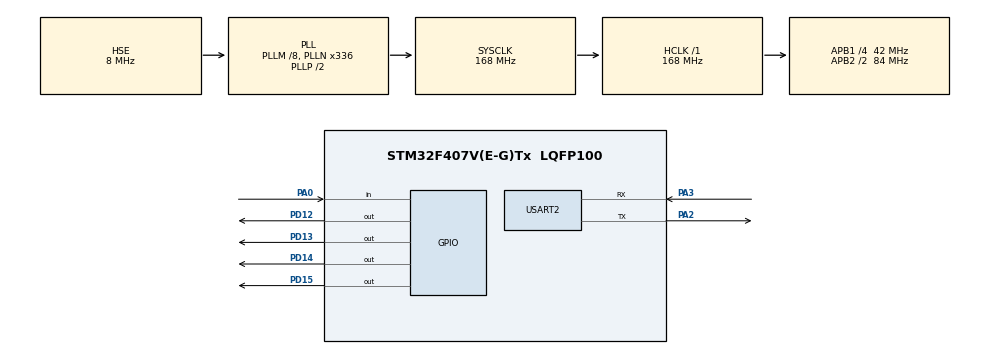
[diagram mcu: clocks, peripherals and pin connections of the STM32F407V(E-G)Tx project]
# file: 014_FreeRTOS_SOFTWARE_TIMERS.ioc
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FREERTOS.Tasks01=defaultTask,24,128,StartDefaultTask,Default,NULL,Dynamic,NULL,NULL
FREERTOS.configUSE_NEWLIB_REENTRANT=1
Mcu.Family=STM32F4
Mcu.Name=STM32F407V(E-G)Tx
Mcu.Package=LQFP100
NVIC.PriorityGroup=NVIC_PRIORITYGROUP_4
NVIC.TIM8_TRG_COM_TIM14_IRQn=true\:15\:0\:false\:false\:true\:false\:false\:true\:true
NVIC.TimeBase=TIM8_TRG_COM_TIM14_IRQn
NVIC.TimeBaseIP=TIM14
PA0-WKUP.Signal=GPIO_Input
PA2.Mode=Asynchronous
PA2.Signal=USART2_TX
PA3.Mode=Asynchronous
PA3.Signal=USART2_RX
PD12.Signal=GPIO_Output
PD13.Signal=GPIO_Output
PD14.Signal=GPIO_Output
PD15.Signal=GPIO_Output
PH0-OSC_IN.Mode=HSE-External-Oscillator
PH0-OSC_IN.Signal=RCC_OSC_IN
PH1-OSC_OUT.Mode=HSE-External-Oscillator
PH1-OSC_OUT.Signal=RCC_OSC_OUT
ProjectManager.HeapSize=0x200
ProjectManager.StackSize=0x400
ProjectManager.TargetToolchain=STM32CubeIDE
RCC.48MHZClocksFreq_Value=48000000
RCC.AHBFreq_Value=168000000
RCC.APB1CLKDivider=RCC_HCLK_DIV4
RCC.APB1Freq_Value=42000000
RCC.APB1TimFreq_Value=84000000
RCC.APB2CLKDivider=RCC_HCLK_DIV2
RCC.APB2Freq_Value=84000000
RCC.APB2TimFreq_Value=168000000
RCC.CortexFreq_Value=168000000
RCC.HCLKFreq_Value=168000000
RCC.HSE_VALUE=8000000
RCC.HSI_VALUE=16000000
RCC.LSE_VALUE=32768
RCC.PLLM=8
RCC.PLLN=336
RCC.PLLQ=7
RCC.PLLSourceVirtual=RCC_PLLSOURCE_HSE
RCC.SYSCLKFreq_VALUE=168000000
RCC.SYSCLKSource=RCC_SYSCLKSOURCE_PLLCLK
RCC.VCOOutputFreq_Value=336000000
USART2.VirtualMode=VM_ASYNC
VP_FREERTOS_VS_CMSIS_V2.Mode=CMSIS_V2
VP_SYS_VS_tim14.Mode=TIM14
board=STM32F407G-DISC1

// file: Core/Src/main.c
/* USER CODE BEGIN Header */
/**
  ******************************************************************************
  * @file           : main.c
  * @brief          : Main program body
  ******************************************************************************
  * @attention
  *
  * Copyright (c) 2023 STMicroelectronics.
  * All rights reserved.
  *
  * This software is licensed under terms that can be found in the LICENSE file
  * in the root directory of this software component.
  * If no LICENSE file comes with this software, it is provided AS-IS.
  *
  ******************************************************************************
  */
/* USER CODE END Header */
#include "main.h"
#include "cmsis_os.h"

/* USER CODE BEGIN Includes */
#include "FreeRTOS.h"
#include "task.h"
#include "timers.h"
/* USER CODE END Includes */

/* USER CODE BEGIN PTD */
#define mainOne_SHOT_TIMER_PERIOD 		pdMS_TO_TICKS(3333)
#define mainAUTO_RELOAD_TIMER_PERIOD 	pdMS_TO_TICKS(500)
/* USER CODE END PTD */

UART_HandleTypeDef huart2;

/* Definitions for defaultTask */

void SystemClock_Config(void);
static void MX_GPIO_Init(void);
static void MX_USART2_UART_Init(void);

/* USER CODE BEGIN 0 */
static void prvAutoReloadTimerCallback(TimerHandle_t xTimer)
{
	TickType_t xTimeNow;
	xTimeNow = xTaskGetTickCount();
	char buffer[50];
	sprintf(buffer, "Auto-Reload timer callback executing! : %d\r\n",xTimeNow);
	HAL_UART_Transmit(&huart2, (uint8_t *)buffer, 50, HAL_MAX_DELAY);

	//ulCallCount++;
}

static void prvOneShotTimerCallback(TimerHandle_t xTimer)
{
	TickType_t xTimeNow;
	char buffer[50];
	xTimeNow = xTaskGetTickCount();
	sprintf(buffer, "One-Shot timer callback executing! : %d\r\n",xTimeNow);
	HAL_UART_Transmit(&huart2, (uint8_t*)buffer, 50, HAL_MAX_DELAY);
}
/* USER CODE END 0 */

int main(void)
{

  /* MCU Configuration--------------------------------------------------------*/

  /* Reset of all peripherals, Initializes the Flash interface and the Systick. */
  HAL_Init();

  /* Configure the system clock */
  SystemClock_Config();

  /* Initialize all configured peripherals */
  MX_GPIO_Init();
  MX_USART2_UART_Init();
  /* USER CODE BEGIN 2 */
  TimerHandle_t xAutoReloadTimer, xOneShotTimer;
  BaseType_t xTimer1Started, xTimer2Started;

  xOneShotTimer = xTimerCreate("OneShot", mainOne_SHOT_TIMER_PERIOD, pdFALSE, 0, prvOneShotTimerCallback);
  xAutoReloadTimer = xTimerCreate("AutoReload", mainAUTO_RELOAD_TIMER_PERIOD, pdTRUE,0, prvAutoReloadTimerCallback);

  if((xOneShotTimer != NULL) && (xAutoReloadTimer != NULL))
  {
	  xTimer1Started = xTimerStart(xOneShotTimer, 0);
	  xTimer2Started = xTimerStart(xAutoReloadTimer, 0);

	  if((xTimer1Started == pdPASS) && (xTimer2Started == pdPASS))
		  vTaskStartScheduler();
  }
  /* USER CODE END 2 */

  /* Init scheduler */

  /* Create the thread(s) */
  /* creation of defaultTask */

  /* Start scheduler */

  /* We should never get here as control is now taken by the scheduler */
  /* Infinite loop */
  while (1)
  {

  }
}

void SystemClock_Config(void)
{
  RCC_OscInitTypeDef RCC_OscInitStruct = {0};
  RCC_ClkInitTypeDef RCC_ClkInitStruct = {0};

  /** Configure the main internal regulator output voltage
  */
  __HAL_RCC_PWR_CLK_ENABLE();
  __HAL_PWR_VOLTAGESCALING_CONFIG(PWR_REGULATOR_VOLTAGE_SCALE1);

  /** Initializes the RCC Oscillators according to the specified parameters
  * in the RCC_OscInitTypeDef structure.
  */
  RCC_OscInitStruct.OscillatorType = RCC_OSCILLATORTYPE_HSE;
  RCC_OscInitStruct.HSEState = RCC_HSE_ON;
  RCC_OscInitStruct.PLL.PLLState = RCC_PLL_ON;
  RCC_OscInitStruct.PLL.PLLSource = RCC_PLLSOURCE_HSE;
  RCC_OscInitStruct.PLL.PLLM = 8;
  RCC_OscInitStruct.PLL.PLLN = 336;
  RCC_OscInitStruct.PLL.PLLP = RCC_PLLP_DIV2;
  RCC_OscInitStruct.PLL.PLLQ = 7;
  if (HAL_RCC_OscConfig(&RCC_OscInitStruct) != HAL_OK)
  {
    Error_Handler();
  }

  /** Initializes the CPU, AHB and APB buses clocks
  */
  RCC_ClkInitStruct.ClockType = RCC_CLOCKTYPE_HCLK|RCC_CLOCKTYPE_SYSCLK
                              |RCC_CLOCKTYPE_PCLK1|RCC_CLOCKTYPE_PCLK2;
  RCC_ClkInitStruct.SYSCLKSource = RCC_SYSCLKSOURCE_PLLCLK;
  RCC_ClkInitStruct.AHBCLKDivider = RCC_SYSCLK_DIV1;
  RCC_ClkInitStruct.APB1CLKDivider = RCC_HCLK_DIV4;
  RCC_ClkInitStruct.APB2CLKDivider = RCC_HCLK_DIV2;

  if (HAL_RCC_ClockConfig(&RCC_ClkInitStruct, FLASH_LATENCY_5) != HAL_OK)
  {
    Error_Handler();
  }
}

static void MX_USART2_UART_Init(void)
{

  huart2.Instance = USART2;
  huart2.Init.BaudRate = 115200;
  huart2.Init.WordLength = UART_WORDLENGTH_8B;
  huart2.Init.StopBits = UART_STOPBITS_1;
  huart2.Init.Parity = UART_PARITY_NONE;
  huart2.Init.Mode = UART_MODE_TX_RX;
  huart2.Init.HwFlowCtl = UART_HWCONTROL_NONE;
  huart2.Init.OverSampling = UART_OVERSAMPLING_16;
  if (HAL_UART_Init(&huart2) != HAL_OK)
  {
    Error_Handler();
  }

}

static void MX_GPIO_Init(void)
{
  GPIO_InitTypeDef GPIO_InitStruct = {0};

  /* GPIO Ports Clock Enable */
  __HAL_RCC_GPIOH_CLK_ENABLE();
  __HAL_RCC_GPIOA_CLK_ENABLE();
  __HAL_RCC_GPIOD_CLK_ENABLE();

  /*Configure GPIO pin Output Level */
  HAL_GPIO_WritePin(GPIOD, GPIO_PIN_12|GPIO_PIN_13|GPIO_PIN_14|GPIO_PIN_15, GPIO_PIN_RESET);

  /*Configure GPIO pin : PA0 */
  GPIO_InitStruct.Pin = GPIO_PIN_0;
  GPIO_InitStruct.Mode = GPIO_MODE_INPUT;
  GPIO_InitStruct.Pull = GPIO_NOPULL;
  HAL_GPIO_Init(GPIOA, &GPIO_InitStruct);

  /*Configure GPIO pins : PD12 PD13 PD14 PD15 */
  GPIO_InitStruct.Pin = GPIO_PIN_12|GPIO_PIN_13|GPIO_PIN_14|GPIO_PIN_15;
  GPIO_InitStruct.Mode = GPIO_MODE_OUTPUT_PP;
  GPIO_InitStruct.Pull = GPIO_NOPULL;
  GPIO_InitStruct.Speed = GPIO_SPEED_FREQ_LOW;
  HAL_GPIO_Init(GPIOD, &GPIO_InitStruct);

}

void HAL_TIM_PeriodElapsedCallback(TIM_HandleTypeDef *htim)
{
  if (htim->Instance == TIM14) {
    HAL_IncTick();
  }
}

void Error_Handler(void)
{
  __disable_irq();
  while (1)
  {
  }
}
